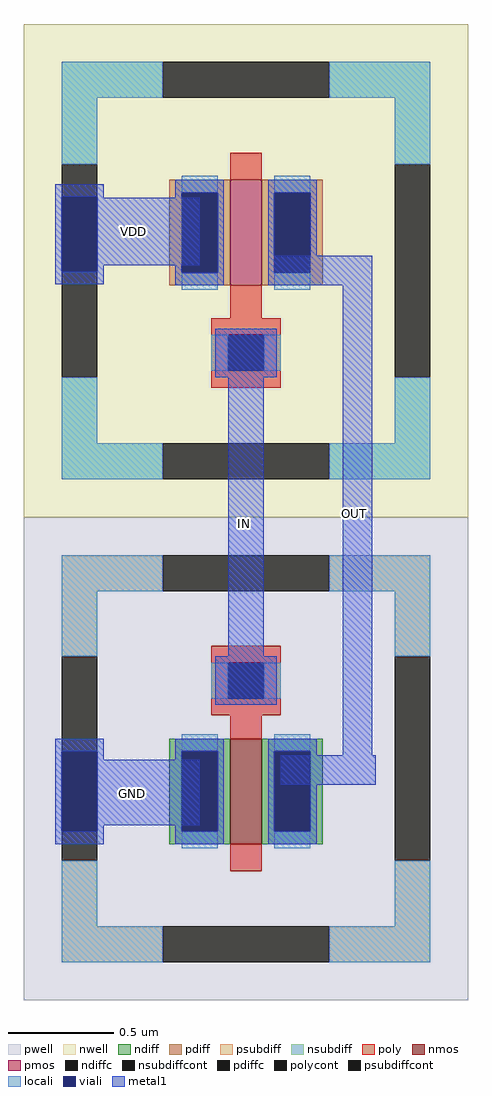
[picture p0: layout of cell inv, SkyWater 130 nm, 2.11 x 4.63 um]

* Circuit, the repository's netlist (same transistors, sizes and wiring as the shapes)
** sch_path: /home/muhammadkhairulfattah/icdec_inverter2/inv.sch
.subckt inv vdd in out gnd
*.PININFO out:O vdd:I in:I gnd:I
XM1 out in gnd gnd sky130_fd_pr__nfet_01v8 L=0.15 W=0.5 nf=1 m=1
XM2 out in vdd vdd sky130_fd_pr__pfet_01v8 L=0.15 W=0.5 nf=1 m=1
.ends
.end

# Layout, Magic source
magic
tech sky130A
magscale 1 2
<< viali >>
rect 112 779 146 850
rect 112 248 146 324
<< metal1 >>
rect 106 850 152 862
rect 106 779 112 850
rect 146 849 152 850
rect 146 785 243 849
rect 146 779 152 785
rect 106 767 152 779
rect 314 766 407 794
rect 270 374 304 719
rect 106 324 152 336
rect 106 248 112 324
rect 146 316 152 324
rect 379 320 407 766
rect 146 254 243 316
rect 320 292 410 320
rect 146 248 152 254
rect 106 236 152 248
use sky130_fd_pr__nfet_01v8_L9KS9E  XM1
transform 1 0 287 0 1 317
box -211 -229 211 229
use sky130_fd_pr__pfet_01v8_LJ7GBL  XM2
transform 1 0 287 0 1 780
box -211 -234 211 234
<< labels >>
flabel metal1 180 817 180 817 0 FreeSans 160 0 0 0 VDD
port 0 nsew
flabel metal1 179 284 179 284 0 FreeSans 160 0 0 0 GND
port 1 nsew
flabel metal1 285 539 286 542 0 FreeSans 160 0 0 0 IN
port 2 nsew
flabel metal1 390 550 390 550 0 FreeSans 160 0 0 0 OUT
port 3 nsew
<< end >>

# cell sky130_fd_pr__nfet_01v8_L9KS9E: kit device sky130_fd_pr__nfet_01v8, w 0.5 l 0.15 m 1 nf 1 diffcov 100 polycov 100 guard 1 glc 1 grc 1 gtc 1 gbc 1 tbcov 100 rlcov 100 topc 1 botc 0 poverlap 0 doverlap 1 lmin 0.15 wmin 0.42 compatible {sky130_fd_pr__nfet_01v8 sky130_fd_pr__nfet_01v8_lvt sky130_fd_bs_flash__special_sonosfet_star sky130_fd_pr__nfet_g5v0d10v5 sky130_fd_pr__nfet_05v0_nvt sky130_fd_pr__nfet_03v3_nvt} full_metal 1 viasrc 100 viadrn 100 viagate 100 viagb 0 viagr 0 viagl 0 viagt 0

# cell sky130_fd_pr__pfet_01v8_LJ7GBL: kit device sky130_fd_pr__pfet_01v8, w 0.5 l 0.15 m 1 nf 1 diffcov 100 polycov 100 guard 1 glc 1 grc 1 gtc 1 gbc 1 tbcov 100 rlcov 100 topc 0 botc 1 poverlap 0 doverlap 1 lmin 0.15 wmin 0.42 compatible {sky130_fd_pr__pfet_01v8 sky130_fd_pr__pfet_01v8_lvt sky130_fd_pr__pfet_01v8_hvt sky130_fd_pr__pfet_g5v0d10v5} full_metal 1 viasrc 100 viadrn 100 viagate 100 viagb 0 viagr 0 viagl 0 viagt 0
